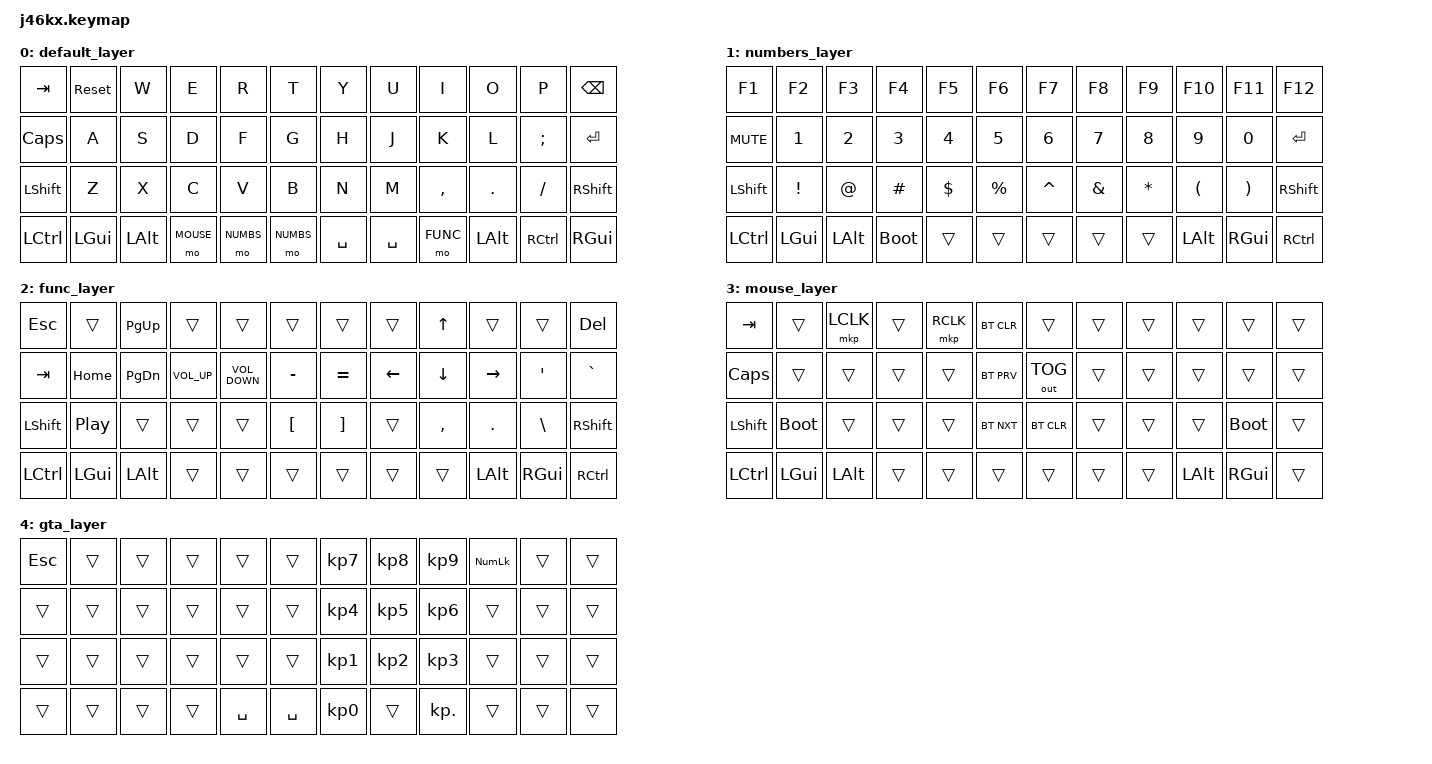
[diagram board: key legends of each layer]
/*
 * Copyright (c) 2020 The ZMK Contributors
 *
 * SPDX-License-Identifier: MIT
 */

#include <behaviors.dtsi>
#include <dt-bindings/zmk/keys.h>
#include <dt-bindings/zmk/bt.h>
#include <dt-bindings/zmk/mouse.h>
#include <dt-bindings/zmk/outputs.h>

#define DEFAULT 0
#define NUMBS   1
#define FUNC    2
#define MOUSE   3
#define GTA     4

#define TIMEOUT 250

/ {
    combos {
        compatible = "zmk,combos";
        combo_gaming  {
            timeout-ms = <TIMEOUT>;
            key-positions = <1 5>;
            bindings = <&tog GTA>;
        };
    };
};

/ {
    keymap {
        compatible = "zmk,keymap";

        default_layer {
            bindings = <
        &kp TAB    &sys_reset    &kp W    &kp E     &kp R     &kp T     &kp Y     &kp U     &kp I     &kp O    &kp   P   &kp BSPC
        &kp CLCK   &kp A    &kp S    &kp D     &kp F     &kp G     &kp H     &kp J     &kp K     &kp L    &kp SEMI  &kp RET
        &kp LSHIFT &kp Z    &kp X    &kp C     &kp V     &kp B     &kp N     &kp M     &kp COMMA &kp DOT  &kp FSLH  &kp RSHFT
        &kp LCTRL  &kp LGUI &kp LALT &mo MOUSE &mo NUMBS &mo NUMBS &kp SPACE &kp SPACE &mo FUNC  &kp LALT &kp RCTRL &kp RGUI 
            >;
        };

        numbers_layer {
            bindings = <
        &kp F1     &kp F2   &kp F3   &kp F4    &kp F5    &kp F6    &kp F7    &kp F8    &kp F9       &kp F10    &kp F11   &kp F12
        &kp C_MUTE &kp N1   &kp N2   &kp N3    &kp N4    &kp N5    &kp N6    &kp N7    &kp N8       &kp N9     &kp N0    &kp RET
        &kp LSHIFT &kp EXCL &kp AT   &kp HASH  &kp DLLR  &kp PRCNT &kp CARET &kp AMPS  &kp ASTERISK &kp LPAR   &kp RPAR  &kp RSHFT
        &kp LCTRL  &kp LGUI &kp LALT &bootloader    &trans    &trans    &trans    &trans    &trans       &kp LALT   &kp RGUI  &kp RCTRL
            >;
        };

        func_layer {
            bindings = <
        &kp ESC    &trans   &kp PG_UP &trans       &trans            &trans    &trans       &trans    &kp UP    &trans    &trans   &kp DEL
        &kp TAB    &kp HOME &kp PG_DN &kp C_VOL_UP &kp C_VOLUME_DOWN &kp MINUS &kp EQUAL    &kp LEFT  &kp DOWN  &kp RIGHT &kp SQT  &kp GRAVE
        &kp LSHIFT &kp C_PP &trans    &trans       &trans            &kp LBKT  &kp RBKT     &trans    &kp COMMA &kp DOT   &kp BSLH &kp RSHFT
        &kp LCTRL  &kp LGUI &kp LALT  &trans       &trans            &trans    &trans       &trans    &trans    &kp LALT  &kp RGUI &kp RCTRL
            >;
        };

        mouse_layer {
            bindings = <
        &kp TAB    &trans      &mkp LCLK  &trans &mkp RCLK &bt BT_CLR &trans       &trans   &trans    &trans   &trans        &trans
        &kp CLCK   &trans      &trans     &trans &trans    &bt BT_PRV &out OUT_TOG &trans   &trans    &trans   &trans        &trans
        &kp LSHIFT &bootloader &trans     &trans &trans    &bt BT_NXT &bt BT_CLR   &trans   &trans    &trans   &bootloader   &trans
        &kp LCTRL  &kp LGUI    &kp LALT   &trans &trans    &trans     &trans       &trans   &trans    &kp LALT &kp RGUI      &trans
            >;
        };

        gta_layer {
            bindings = <
        &kp ESC  &trans  &trans  &trans  &trans      &trans      &kp KP_N7    &kp KP_N8       &kp KP_N9  &kp KP_NUMLOCK  &trans  &trans
        &trans   &trans  &trans  &trans  &trans      &trans      &kp KP_N4    &kp KP_N5       &kp KP_N6  &trans          &trans  &trans
        &trans   &trans  &trans  &trans  &trans      &trans      &kp KP_N1    &kp KP_N2       &kp KP_N3  &trans          &trans  &trans
        &trans   &trans  &trans  &trans  &kp SPACE   &kp SPACE   &kp KP_N0    &trans          &kp KP_DOT &trans          &trans  &trans
            >; 
        };
    };
};
